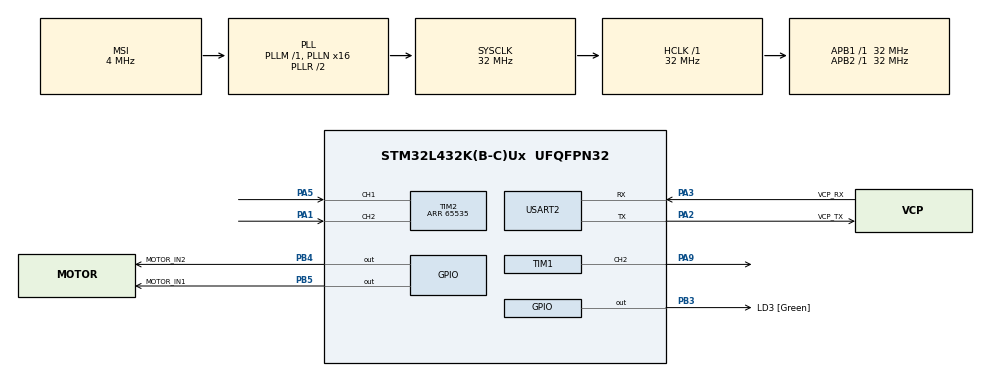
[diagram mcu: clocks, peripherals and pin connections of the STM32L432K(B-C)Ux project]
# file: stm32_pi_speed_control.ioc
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Mcu.Family=STM32L4
Mcu.Name=STM32L432K(B-C)Ux
Mcu.Package=UFQFPN32
NVIC.PriorityGroup=NVIC_PRIORITYGROUP_4
NVIC.TIM6_DAC_IRQn=true\:0\:0\:false\:false\:true\:true\:true\:true
PA0.GPIO_Label=MCO [High speed clock in]
PA0.Mode=HSE-External-Clock-Source-for-LittleOrca
PA0.Signal=RCC_CK_IN
PA1.Signal=S_TIM2_CH2
PA13\ (JTMS-SWDIO).GPIO_Label=SWDIO
PA13\ (JTMS-SWDIO).Mode=Serial_Wire
PA13\ (JTMS-SWDIO).Signal=SYS_JTMS-SWDIO
PA14\ (JTCK-SWCLK).GPIO_Label=SWCLK
PA14\ (JTCK-SWCLK).Mode=Serial_Wire
PA14\ (JTCK-SWCLK).Signal=SYS_JTCK-SWCLK
PA2.GPIO_Label=VCP_TX
PA2.Mode=Asynchronous
PA2.Signal=USART2_TX
PA3.GPIO_Label=VCP_RX
PA3.Mode=Asynchronous
PA3.Signal=USART2_RX
PA5.Signal=S_TIM2_CH1
PA9.Signal=S_TIM1_CH2
PB3\ (JTDO-TRACESWO).GPIO_Label=LD3 [Green]
PB3\ (JTDO-TRACESWO).Signal=GPIO_Output
PB4\ (NJTRST).GPIO_Label=MOTOR_IN2
PB4\ (NJTRST).Signal=GPIO_Output
PB5.GPIO_Label=MOTOR_IN1
PB5.Signal=GPIO_Output
PC14-OSC32_IN\ (PC14).Mode=LSE-External-Oscillator
PC14-OSC32_IN\ (PC14).Signal=RCC_OSC32_IN
PC15-OSC32_OUT\ (PC15).Mode=LSE-External-Oscillator
PC15-OSC32_OUT\ (PC15).Signal=RCC_OSC32_OUT
ProjectManager.HeapSize=0x200
ProjectManager.StackSize=0x400
ProjectManager.TargetToolchain=STM32CubeIDE
RCC.AHBFreq_Value=32000000
RCC.APB1Freq_Value=32000000
RCC.APB1TimFreq_Value=32000000
RCC.APB2Freq_Value=32000000
RCC.APB2TimFreq_Value=32000000
RCC.CortexFreq_Value=32000000
RCC.HCLKFreq_Value=32000000
RCC.HSE_VALUE=8000000
RCC.HSI16_VALUE=16000000
RCC.HSI48_VALUE=48000000
RCC.HSI_VALUE=16000000
RCC.MSI_VALUE=4000000
RCC.PLLMUL=RCC_PLLMUL_4
RCC.PLLN=16
RCC.SYSCLKFreq_VALUE=32000000
RCC.SYSCLKSource=RCC_SYSCLKSOURCE_PLLCLK
RCC.VCOOutputFreq_Value=64000000
SH.S_TIM1_CH2.0=TIM1_CH2,PWM Generation2 CH2
SH.S_TIM2_CH1.0=TIM2_CH1,Encoder_Interface
SH.S_TIM2_CH2.0=TIM2_CH2,Encoder_Interface
TIM1.Channel-PWM\ Generation2\ CH2=TIM_CHANNEL_2
TIM2.EncoderMode=TIM_ENCODERMODE_TI12
TIM2.Period=65535
TIM6.Period=39
TIM6.Prescaler=7999
USART2.VirtualMode-Asynchronous=VM_ASYNC
VP_TIM6_VS_ClockSourceINT.Mode=Enable_Timer
board=NUCLEO-L432KC

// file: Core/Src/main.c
#include "main.h"

/* USER CODE BEGIN Includes */
#include <stdio.h>
#include <string.h>
#include <math.h>

/* USER CODE END Includes */
// ===============================
// Selección de controlador
// ===============================
#define CTRL_PI   1
#define CTRL_PID  2
#define CTRL_LQR  3

#define CONTROL_MODE CTRL_LQR
#define U_MIN_START 0.18f

// ===== LQI (LQR + integrador) a Ts = 0.1 s =====
#define DT_MEAS 0.1f

static const float Ad_lqi = 3.7934e-09f;
static const float Bd_lqi = 0.6601f;

static const float Kx_lqi = 5.7464e-09f;
static const float Ki_lqi = -0.0104f;

static float x_lqi  = 0.0f;
static float xi_lqi = 0.0f;
static const float KI_SCALE = 100.0f;

TIM_HandleTypeDef htim1;
TIM_HandleTypeDef htim2;
TIM_HandleTypeDef htim6;

UART_HandleTypeDef huart2;

void SystemClock_Config(void);
static void MX_GPIO_Init(void);
static void MX_USART2_UART_Init(void);
static void MX_TIM1_Init(void);
static void MX_TIM2_Init(void);
static void MX_TIM6_Init(void);

/* USER CODE BEGIN 0 */

#define FS_CTRL   250.0f
#define TS_CTRL   (1.0f/FS_CTRL)

#define CPR       80.0f

#define PWM_CH    TIM_CHANNEL_2
#define UMAX      1.0f

// Ganancias desde PID Tuner (PI)
static const float Kp = 0.072207f;
static const float Ki = 57.948f;

// Referencia (RPM)
static float ref_rpm = 0.0f;

// Estados
static float i_term = 0.0f;
static int32_t cnt_prev = 0;
static uint32_t k_tick = 0;

extern TIM_HandleTypeDef htim1;   // PWM TIM1
extern TIM_HandleTypeDef htim2;   // Encoder TIM2
extern TIM_HandleTypeDef htim6;   // Control loop TIM6
extern UART_HandleTypeDef huart2; // UART2

static float clampf(float x, float a, float b){
  if(x < a) return a;
  if(x > b) return b;
  return x;
}

static void motor_set(float u_norm){
  float a = fabsf(u_norm);
  a = clampf(a, 0.0f, 1.0f);

  // IN1=PB5, IN2=PB4
  if(u_norm >= 0.0f){
    HAL_GPIO_WritePin(GPIOB, GPIO_PIN_5, GPIO_PIN_RESET);
    HAL_GPIO_WritePin(GPIOB, GPIO_PIN_4, GPIO_PIN_SET);
  }else{
    HAL_GPIO_WritePin(GPIOB, GPIO_PIN_5, GPIO_PIN_SET);
    HAL_GPIO_WritePin(GPIOB, GPIO_PIN_4, GPIO_PIN_RESET);
  }

  uint32_t arr = __HAL_TIM_GET_AUTORELOAD(&htim1);
  uint32_t ccr = (uint32_t)(a * (float)arr);
  __HAL_TIM_SET_COMPARE(&htim1, PWM_CH, ccr);
}

static int32_t encoder_read_delta(void){
  int32_t cnt = (int32_t)__HAL_TIM_GET_COUNTER(&htim2);
  int32_t d = cnt - cnt_prev;
  cnt_prev = cnt;

  // wrap 16-bit
  if(d >  32767) d -= 65536;
  if(d < -32768) d += 65536;

  return d;
}

/* USER CODE END 0 */

int main(void)
{

  /* MCU Configuration--------------------------------------------------------*/

  /* Reset of all peripherals, Initializes the Flash interface and the Systick. */
  HAL_Init();

  /* Configure the system clock */
  SystemClock_Config();

  /* Initialize all configured peripherals */
  MX_GPIO_Init();
  MX_USART2_UART_Init();
  MX_TIM1_Init();
  MX_TIM2_Init();
  MX_TIM6_Init();
  /* USER CODE BEGIN 2 */
  HAL_TIM_PWM_Start(&htim1, PWM_CH);
  HAL_TIM_Encoder_Start(&htim2, TIM_CHANNEL_ALL);

  cnt_prev = (int32_t)__HAL_TIM_GET_COUNTER(&htim2);

  HAL_TIM_Base_Start_IT(&htim6);

  // Arranca apagado
  motor_set(0.0f);

  /* USER CODE END 2 */

  /* Infinite loop */
  while (1)
  {

  }
}

void SystemClock_Config(void)
{
  RCC_OscInitTypeDef RCC_OscInitStruct = {0};
  RCC_ClkInitTypeDef RCC_ClkInitStruct = {0};

  /** Configure the main internal regulator output voltage
  */
  if (HAL_PWREx_ControlVoltageScaling(PWR_REGULATOR_VOLTAGE_SCALE1) != HAL_OK)
  {
    Error_Handler();
  }

  /** Configure LSE Drive Capability
  */
  HAL_PWR_EnableBkUpAccess();
  __HAL_RCC_LSEDRIVE_CONFIG(RCC_LSEDRIVE_LOW);

  /** Initializes the RCC Oscillators according to the specified parameters
  * in the RCC_OscInitTypeDef structure.
  */
  RCC_OscInitStruct.OscillatorType = RCC_OSCILLATORTYPE_LSE|RCC_OSCILLATORTYPE_MSI;
  RCC_OscInitStruct.LSEState = RCC_LSE_ON;
  RCC_OscInitStruct.MSIState = RCC_MSI_ON;
  RCC_OscInitStruct.MSICalibrationValue = 0;
  RCC_OscInitStruct.MSIClockRange = RCC_MSIRANGE_6;
  RCC_OscInitStruct.PLL.PLLState = RCC_PLL_ON;
  RCC_OscInitStruct.PLL.PLLSource = RCC_PLLSOURCE_MSI;
  RCC_OscInitStruct.PLL.PLLM = 1;
  RCC_OscInitStruct.PLL.PLLN = 16;
  RCC_OscInitStruct.PLL.PLLP = RCC_PLLP_DIV7;
  RCC_OscInitStruct.PLL.PLLQ = RCC_PLLQ_DIV2;
  RCC_OscInitStruct.PLL.PLLR = RCC_PLLR_DIV2;
  if (HAL_RCC_OscConfig(&RCC_OscInitStruct) != HAL_OK)
  {
    Error_Handler();
  }

  /** Initializes the CPU, AHB and APB buses clocks
  */
  RCC_ClkInitStruct.ClockType = RCC_CLOCKTYPE_HCLK|RCC_CLOCKTYPE_SYSCLK
                              |RCC_CLOCKTYPE_PCLK1|RCC_CLOCKTYPE_PCLK2;
  RCC_ClkInitStruct.SYSCLKSource = RCC_SYSCLKSOURCE_PLLCLK;
  RCC_ClkInitStruct.AHBCLKDivider = RCC_SYSCLK_DIV1;
  RCC_ClkInitStruct.APB1CLKDivider = RCC_HCLK_DIV1;
  RCC_ClkInitStruct.APB2CLKDivider = RCC_HCLK_DIV1;

  if (HAL_RCC_ClockConfig(&RCC_ClkInitStruct, FLASH_LATENCY_1) != HAL_OK)
  {
    Error_Handler();
  }

  /** Enable MSI Auto calibration
  */
  HAL_RCCEx_EnableMSIPLLMode();
}

static void MX_TIM1_Init(void)
{

  TIM_MasterConfigTypeDef sMasterConfig = {0};
  TIM_OC_InitTypeDef sConfigOC = {0};
  TIM_BreakDeadTimeConfigTypeDef sBreakDeadTimeConfig = {0};

  htim1.Instance = TIM1;
  htim1.Init.Prescaler = 0;
  htim1.Init.CounterMode = TIM_COUNTERMODE_UP;
  htim1.Init.Period = 65535;
  htim1.Init.ClockDivision = TIM_CLOCKDIVISION_DIV1;
  htim1.Init.RepetitionCounter = 0;
  htim1.Init.AutoReloadPreload = TIM_AUTORELOAD_PRELOAD_DISABLE;
  if (HAL_TIM_PWM_Init(&htim1) != HAL_OK)
  {
    Error_Handler();
  }
  sMasterConfig.MasterOutputTrigger = TIM_TRGO_RESET;
  sMasterConfig.MasterOutputTrigger2 = TIM_TRGO2_RESET;
  sMasterConfig.MasterSlaveMode = TIM_MASTERSLAVEMODE_DISABLE;
  if (HAL_TIMEx_MasterConfigSynchronization(&htim1, &sMasterConfig) != HAL_OK)
  {
    Error_Handler();
  }
  sConfigOC.OCMode = TIM_OCMODE_PWM1;
  sConfigOC.Pulse = 0;
  sConfigOC.OCPolarity = TIM_OCPOLARITY_HIGH;
  sConfigOC.OCNPolarity = TIM_OCNPOLARITY_HIGH;
  sConfigOC.OCFastMode = TIM_OCFAST_DISABLE;
  sConfigOC.OCIdleState = TIM_OCIDLESTATE_RESET;
  sConfigOC.OCNIdleState = TIM_OCNIDLESTATE_RESET;
  if (HAL_TIM_PWM_ConfigChannel(&htim1, &sConfigOC, TIM_CHANNEL_2) != HAL_OK)
  {
    Error_Handler();
  }
  sBreakDeadTimeConfig.OffStateRunMode = TIM_OSSR_DISABLE;
  sBreakDeadTimeConfig.OffStateIDLEMode = TIM_OSSI_DISABLE;
  sBreakDeadTimeConfig.LockLevel = TIM_LOCKLEVEL_OFF;
  sBreakDeadTimeConfig.DeadTime = 0;
  sBreakDeadTimeConfig.BreakState = TIM_BREAK_DISABLE;
  sBreakDeadTimeConfig.BreakPolarity = TIM_BREAKPOLARITY_HIGH;
  sBreakDeadTimeConfig.BreakFilter = 0;
  sBreakDeadTimeConfig.Break2State = TIM_BREAK2_DISABLE;
  sBreakDeadTimeConfig.Break2Polarity = TIM_BREAK2POLARITY_HIGH;
  sBreakDeadTimeConfig.Break2Filter = 0;
  sBreakDeadTimeConfig.AutomaticOutput = TIM_AUTOMATICOUTPUT_DISABLE;
  if (HAL_TIMEx_ConfigBreakDeadTime(&htim1, &sBreakDeadTimeConfig) != HAL_OK)
  {
    Error_Handler();
  }
  HAL_TIM_MspPostInit(&htim1);

}

static void MX_TIM2_Init(void)
{

  TIM_Encoder_InitTypeDef sConfig = {0};
  TIM_MasterConfigTypeDef sMasterConfig = {0};

  htim2.Instance = TIM2;
  htim2.Init.Prescaler = 0;
  htim2.Init.CounterMode = TIM_COUNTERMODE_UP;
  htim2.Init.Period = 65535;
  htim2.Init.ClockDivision = TIM_CLOCKDIVISION_DIV1;
  htim2.Init.AutoReloadPreload = TIM_AUTORELOAD_PRELOAD_DISABLE;
  sConfig.EncoderMode = TIM_ENCODERMODE_TI12;
  sConfig.IC1Polarity = TIM_ICPOLARITY_RISING;
  sConfig.IC1Selection = TIM_ICSELECTION_DIRECTTI;
  sConfig.IC1Prescaler = TIM_ICPSC_DIV1;
  sConfig.IC1Filter = 0;
  sConfig.IC2Polarity = TIM_ICPOLARITY_RISING;
  sConfig.IC2Selection = TIM_ICSELECTION_DIRECTTI;
  sConfig.IC2Prescaler = TIM_ICPSC_DIV1;
  sConfig.IC2Filter = 0;
  if (HAL_TIM_Encoder_Init(&htim2, &sConfig) != HAL_OK)
  {
    Error_Handler();
  }
  sMasterConfig.MasterOutputTrigger = TIM_TRGO_RESET;
  sMasterConfig.MasterSlaveMode = TIM_MASTERSLAVEMODE_DISABLE;
  if (HAL_TIMEx_MasterConfigSynchronization(&htim2, &sMasterConfig) != HAL_OK)
  {
    Error_Handler();
  }

}

static void MX_TIM6_Init(void)
{

  TIM_MasterConfigTypeDef sMasterConfig = {0};

  htim6.Instance = TIM6;
  htim6.Init.Prescaler = 7999;
  htim6.Init.CounterMode = TIM_COUNTERMODE_UP;
  htim6.Init.Period = 39;
  htim6.Init.AutoReloadPreload = TIM_AUTORELOAD_PRELOAD_DISABLE;
  if (HAL_TIM_Base_Init(&htim6) != HAL_OK)
  {
    Error_Handler();
  }
  sMasterConfig.MasterOutputTrigger = TIM_TRGO_RESET;
  sMasterConfig.MasterSlaveMode = TIM_MASTERSLAVEMODE_DISABLE;
  if (HAL_TIMEx_MasterConfigSynchronization(&htim6, &sMasterConfig) != HAL_OK)
  {
    Error_Handler();
  }

}

static void MX_USART2_UART_Init(void)
{

  huart2.Instance = USART2;
  huart2.Init.BaudRate = 115200;
  huart2.Init.WordLength = UART_WORDLENGTH_8B;
  huart2.Init.StopBits = UART_STOPBITS_1;
  huart2.Init.Parity = UART_PARITY_NONE;
  huart2.Init.Mode = UART_MODE_TX_RX;
  huart2.Init.HwFlowCtl = UART_HWCONTROL_NONE;
  huart2.Init.OverSampling = UART_OVERSAMPLING_16;
  huart2.Init.OneBitSampling = UART_ONE_BIT_SAMPLE_DISABLE;
  huart2.AdvancedInit.AdvFeatureInit = UART_ADVFEATURE_NO_INIT;
  if (HAL_UART_Init(&huart2) != HAL_OK)
  {
    Error_Handler();
  }

}

static void MX_GPIO_Init(void)
{
  GPIO_InitTypeDef GPIO_InitStruct = {0};

  /* GPIO Ports Clock Enable */
  __HAL_RCC_GPIOC_CLK_ENABLE();
  __HAL_RCC_GPIOA_CLK_ENABLE();
  __HAL_RCC_GPIOB_CLK_ENABLE();

  /*Configure GPIO pin Output Level */
  HAL_GPIO_WritePin(GPIOB, LD3_Pin|MOTOR_IN2_Pin|MOTOR_IN1_Pin, GPIO_PIN_RESET);

  /*Configure GPIO pins : LD3_Pin MOTOR_IN2_Pin MOTOR_IN1_Pin */
  GPIO_InitStruct.Pin = LD3_Pin|MOTOR_IN2_Pin|MOTOR_IN1_Pin;
  GPIO_InitStruct.Mode = GPIO_MODE_OUTPUT_PP;
  GPIO_InitStruct.Pull = GPIO_NOPULL;
  GPIO_InitStruct.Speed = GPIO_SPEED_FREQ_LOW;
  HAL_GPIO_Init(GPIOB, &GPIO_InitStruct);

}

/* USER CODE BEGIN 4 */
void HAL_TIM_PeriodElapsedCallback(TIM_HandleTypeDef *htim)
{
  if (htim->Instance == TIM6)
  {
    static uint32_t k_tick = 0;
    float t = k_tick * TS_CTRL;

    // ======================================================
    // 1) Medición de velocidad en counts/s (ventana 0.1 s)
    // ======================================================
    static int32_t  acc_counts = 0;
    static int32_t  y_cps = 0;
    static uint32_t div_01s = 0;

    int32_t dcnt = encoder_read_delta();
    acc_counts += dcnt;

    // Señal de control mantenida entre updates
    static float u = 0.0f;

    // Estados comunes PI/PID
    static float i_term = 0.0f;
    static float y_f = 0.0f;
    static float y_f_prev = 0.0f;

    // Referencia para imprimir
    static int32_t ref_cps = 0;

    div_01s++;
    if (div_01s >= 25)   // 250 Hz -> 0.1 s
    {
      div_01s = 0;

      // counts/s estimado
      y_cps = acc_counts * 10;
      acc_counts = 0;

      // corregir signo (según tu montaje)
      y_cps = -y_cps;

      // filtro
      y_f_prev = y_f;
      y_f = 0.8f * y_f + 0.2f * (float)y_cps;

      // ======================================================
      // 2) Referencia (escalón)
      // ======================================================
      ref_cps = (t < 2.0f) ? 0 : 17000;

      // ======================================================
      // 3) Control (PI / PID / LQR-LQI)
      // ======================================================
      float e = (float)ref_cps - y_f;

#if CONTROL_MODE == CTRL_PI

      // -------- PI --------
      const float Kp_cps = 0.00035f;
      const float Ki_cps = 0.00008f;

      i_term += e * DT_MEAS;
      i_term = clampf(i_term, -15000.0f, 15000.0f);

      u = (Kp_cps * e) + (Ki_cps * i_term);

#elif CONTROL_MODE == CTRL_PID

      // -------- PID (derivada sobre medición) --------
      const float Kp_cps = 0.00035f;
      const float Ki_cps = 0.00008f;
      const float Kd_cps = 0.00001f;

      i_term += e * DT_MEAS;
      i_term = clampf(i_term, -15000.0f, 15000.0f);

      float dy = (y_f - y_f_prev) / DT_MEAS;

      u = (Kp_cps * e) + (Ki_cps * i_term) - (Kd_cps * dy);

#elif CONTROL_MODE == CTRL_LQR

      // -------- LQI (LQR + integrador) --------
      // Nota: tus valores Kx son casi 0, así que domina la parte integral.
      static uint8_t was_zero_ref = 1;
      if (ref_cps == 0) {
        was_zero_ref = 1;
      } else if (was_zero_ref) {
        was_zero_ref = 0;
        xi_lqi = 0.0f;
        x_lqi  = y_f;
      }

      // Error normalizado
      const float REF_NORM = 17000.0f;
      float e_n = e / REF_NORM;

      // Actualizar estado del modelo con u anterior
      x_lqi = Ad_lqi * x_lqi + Bd_lqi * u;

      // Integrar primero (con límite para no explotar)
      xi_lqi += e_n * DT_MEAS;
      xi_lqi = clampf(xi_lqi, -50.0f, 50.0f);

      // Control con escala KI_SCALE (defínelo globalmente)
      // u = -Kx*x - (KI_SCALE*Ki)*xi
      float u_raw = -(Kx_lqi * x_lqi) - ((KI_SCALE * Ki_lqi) * xi_lqi);

      u = clampf(u_raw, -1.0f, 1.0f);

#endif

      // Saturación final común
      u = clampf(u, -1.0f, 1.0f);

      // ======================================================
      // 4) UART CSV (10 Hz)
      // Formato: t,ref,y,u
      // ======================================================
      char line[96];
      int n = snprintf(line, sizeof(line),
                       "%.3f,%ld,%ld,%.3f\r\n",
                       t, (long)ref_cps, (long)y_cps, u);
      HAL_UART_Transmit(&huart2, (uint8_t*)line, (uint16_t)n, 5);
    }

    // ======================================================
    // 5) Compensación de zona muerta (arranque) + aplicar u
    // ======================================================
    if (ref_cps > 0) {
      if (u > 0.0f && u < U_MIN_START)  u = U_MIN_START;
      if (u < 0.0f && u > -U_MIN_START) u = -U_MIN_START;
    }

    motor_set(u);

    k_tick++;
  }
}

/* USER CODE END 4 */

void Error_Handler(void)
{
  __disable_irq();
  while (1)
  {
  }
}
